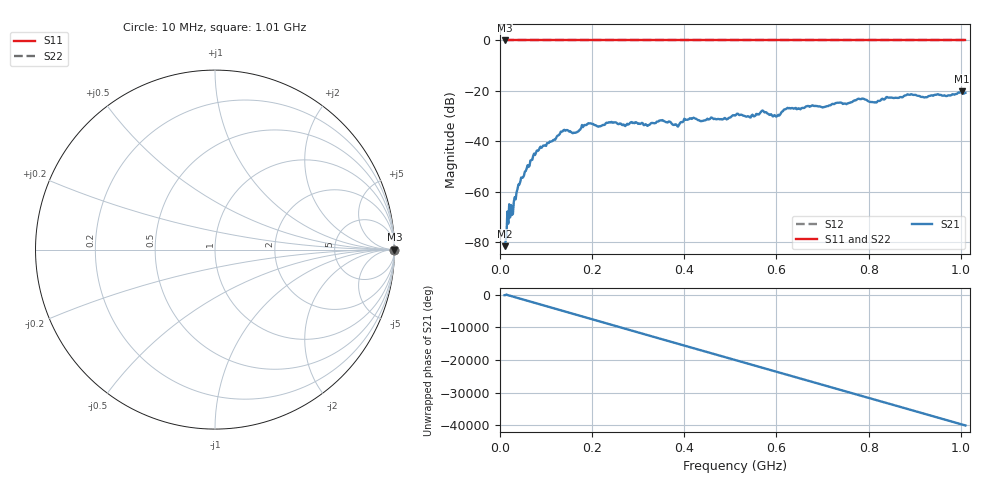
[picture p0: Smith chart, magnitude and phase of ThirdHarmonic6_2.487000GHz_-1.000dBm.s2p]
! 8/17/2025 4:40:57 AM
! C:\ANRITSUVNA\TEMP\TEMP.S2P
! CHANNEL.1
! TR.MEASUREMENT
! RAW.DATA
! RF.CORRECTION.OFF
! AVERAGING.OFF
! IF.BANDWIDTH: 5KHZ
! SWEEPTYPE:  FREQ.SWEEP(Linear)
! Reference Plane Port Info
! PORT:  PORT1  PORT2
! DISTANCE:  0  m  0  m
! TIME:  0  s  0  s
! PHASE.OFFSET:  0  deg.  0  deg.
! LOSS:  0  dB  0  dB
! REF.LOSS:  0  dB  0  dB
! REF.FREQ:  0  Hz  0  Hz
! Power Info
! POWER:  -20  dBm  -20  dBm
! EFF.POWER:  -20  dBm  -20  dBm
! SOURCE.ATTEN:  0  dB  0  dB
! TEST.ATTEN:  0  dB  0  dB
# GHZ S RI R 50.0
! FREQ.GHZ  S11RE  S11IM  S21RE  S21IM  S12RE  S12IM  S22RE  S22IM
!; PortSelection: Port_12
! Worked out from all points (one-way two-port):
!   501 points, 10 MHz to 1.01 GHz, reference 50 ohm
!   highest |S21| = -20.17 dB at 1.002 GHz (marker M1); lowest = -81.6 dB at 10 MHz (marker M2)
!   lowest |S11| = 0.0 dB at 10 MHz (marker M3)
!   |S11| at or under -10 dB: nowhere
!   |S22| runs from 0.0 to 0.0 dB; largest |S21 - S12| = 1.1
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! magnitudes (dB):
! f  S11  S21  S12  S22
! 10 MHz  0.0  -81.6  0.0  0.0
! 20 MHz  0.0  -64.9  0.0  0.0
! 30 MHz  0.0  -63.9  0.0  0.0
! 44 MHz  0.0  -56.0  0.0  0.0
! 76 MHz  0.0  -45.4  0.0  0.0
! 136 MHz  0.0  -36.0  0.0  0.0
! 162 MHz  0.0  -36.6  0.0  0.0
! 178 MHz  0.0  -33.5  0.0  0.0
! 344 MHz  0.0  -32.1  0.0  0.0
! 384 MHz  0.0  -33.7  0.0  0.0
! 416 MHz  0.0  -31.1  0.0  0.0
! 438 MHz  0.0  -31.9  0.0  0.0
! 510 MHz  0.0  -29.8  0.0  0.0
! 540 MHz  0.0  -30.2  0.0  0.0
! 572 MHz  0.0  -28.1  0.0  0.0
! 602 MHz  0.0  -29.9  0.0  0.0
! 624 MHz  0.0  -26.7  0.0  0.0
! 678 MHz  0.0  -25.7  0.0  0.0
! 814 MHz  0.0  -24.5  0.0  0.0
! 844 MHz  0.0  -22.7  0.0  0.0
! 1.002 GHz  0.0  -20.2  0.0  0.0
! 1.01 GHz  0.0  -20.8  0.0  0.0
